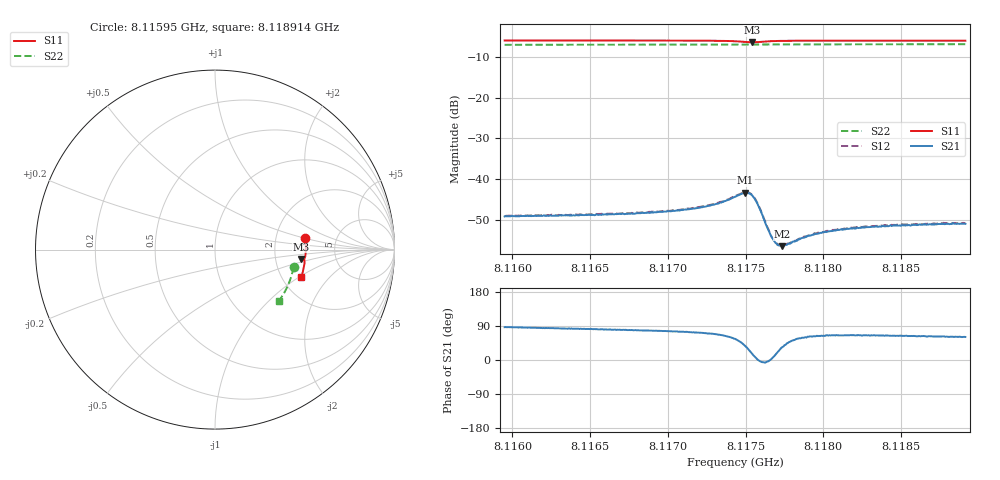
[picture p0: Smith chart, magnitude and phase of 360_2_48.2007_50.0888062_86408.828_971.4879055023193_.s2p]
#  HZ  S  RI  R  50.00
! Rohde & Schwarz Vector Network Analyzer
! Rohde-Schwarz,ZNB20-2Port,1311601062101988,3.16
! Created: UTC 3/20/2024, 11:52:10 AM
! freq[Hz]  re:S11  im:S11  re:S21  im:S21  re:S12  im:S12  re:S22  im:S22
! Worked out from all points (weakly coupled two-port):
!   401 points, 8.11595 GHz to 8.118914 GHz, reference 50 ohm
!   highest |S21| = -43.34 dB at 8.117499 GHz (marker M1); lowest = -56.5 dB at 8.117736 GHz (marker M2)
!   lowest |S11| = -6.4 dB at 8.117543 GHz (marker M3), VSWR 2.86, Z = 140 - j18.8 ohm
!   |S11| at or under -10 dB: nowhere
!   |S22| runs from -7.0 to -6.8 dB; largest |S21 - S12| = 0.00016
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8.1159496e9  0.5037 0.0619  0.000208 0.00347  0.000272 0.00349  0.4376 -0.0979
8.1164462e9  0.5062 0.0247  0.000502 0.00358  0.000565 0.00362  0.4302 -0.1314
8.1169428e9  0.5057 -0.0134  0.000886 0.00385  0.000946 0.00387  0.4201 -0.1645
8.1170985e9  0.5046 -0.026  0.0011 0.00405  0.00118 0.00409  0.4164 -0.1746
8.1172319e9  0.5027 -0.0374  0.00147 0.00435  0.00153 0.0044  0.4128 -0.1834
8.1173431e9  0.4997 -0.0478  0.00211 0.00471  0.00219 0.0048  0.4099 -0.1905
8.117432e9  0.4934 -0.0567  0.00341 0.00502  0.00353 0.00504  0.4072 -0.1964
8.1174987e9  0.4832 -0.0585  0.00546 0.00406  0.00557 0.00408  0.4049 -0.2004
8.117521e9  0.4799 -0.056  0.00598 0.00302  0.00614 0.00303  0.4042 -0.2016
8.1175432e9  0.4786 -0.0517  0.00604 0.00174  0.00614 0.00171  0.4034 -0.2026
8.117558e9  0.4795 -0.0487  0.00569 0.000913  0.0058 0.000873  0.4032 -0.2036
8.1175802e9  0.4827 -0.0457  0.0048 1.08e-05  0.00489 -2.53e-05  0.4027 -0.2047
8.117647e9  0.4934 -0.0482  0.00237 -0.000131  0.00241 -0.000147  0.4014 -0.209
8.1176692e9  0.4954 -0.0508  0.00192 0.000122  0.00191 0.000112  0.4009 -0.2105
8.1176988e9  0.497 -0.0541  0.00154 0.000478  0.00159 0.000449  0.4 -0.2124
8.1177211e9  0.4979 -0.0567  0.00135 0.000708  0.00142 0.000687  0.3993 -0.2139
8.1177359e9  0.4982 -0.0584  0.00124 0.000839  0.00132 0.000812  0.399 -0.2149
8.1179286e9  0.4984 -0.0768  0.000969 0.00182  0.000963 0.00185  0.3929 -0.227
8.1180324e9  0.4973 -0.0853  0.000987 0.00205  0.00103 0.00207  0.3895 -0.2336
8.1181658e9  0.4955 -0.096  0.00104 0.00221  0.00109 0.00231  0.3849 -0.2417
8.1184252e9  0.4913 -0.1155  0.00116 0.00239  0.00121 0.00242  0.3754 -0.2574
8.1189144e9  0.4813 -0.1509  0.00138 0.00246  0.00141 0.00252  0.3561 -0.2856
